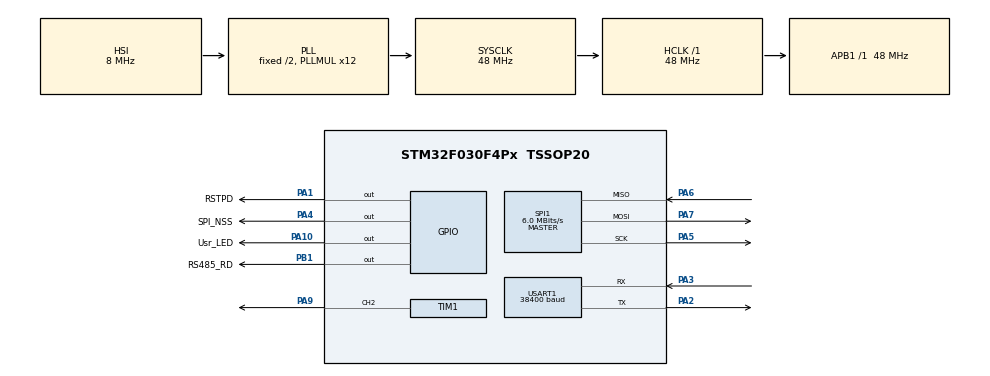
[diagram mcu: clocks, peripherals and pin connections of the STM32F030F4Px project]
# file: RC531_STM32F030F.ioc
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Mcu.Family=STM32F0
Mcu.Name=STM32F030F4Px
Mcu.Package=TSSOP20
NVIC.TIM17_IRQn=true\:0\:0\:false\:false\:true
NVIC.TimeBase=TIM17_IRQn
NVIC.TimeBaseIP=TIM17
PA1.GPIO_Label=RSTPD
PA1.GPIO_PuPd=GPIO_PULLUP
PA1.Signal=GPIO_Output
PA10.GPIO_Label=Usr_LED
PA10.GPIO_PuPd=GPIO_PULLUP
PA10.Signal=GPIO_Output
PA13.Mode=Serial_Wire
PA13.Signal=SYS_SWDIO
PA14.Mode=Serial_Wire
PA14.Signal=SYS_SWCLK
PA2.Mode=Asynchronous
PA2.Signal=USART1_TX
PA3.Mode=Asynchronous
PA3.Signal=USART1_RX
PA4.GPIO_Label=SPI_NSS
PA4.GPIO_PuPd=GPIO_PULLUP
PA4.PinState=GPIO_PIN_SET
PA4.Signal=GPIO_Output
PA5.Mode=Full_Duplex_Master
PA5.Signal=SPI1_SCK
PA6.Mode=Full_Duplex_Master
PA6.Signal=SPI1_MISO
PA7.Mode=Full_Duplex_Master
PA7.Signal=SPI1_MOSI
PA9.Signal=S_TIM1_CH2
PB1.GPIO_Label=RS485_RD
PB1.Signal=GPIO_Output
PF0-OSC_IN.Mode=HSE-External-Oscillator
PF0-OSC_IN.Signal=RCC_OSC_IN
PF1-OSC_OUT.Mode=HSE-External-Oscillator
PF1-OSC_OUT.Signal=RCC_OSC_OUT
ProjectManager.HeapSize=0x200
ProjectManager.StackSize=0x400
ProjectManager.TargetToolchain=MDK-ARM V5
RCC.AHBFreq_Value=48000000
RCC.APB1Freq_Value=48000000
RCC.APB1TimFreq_Value=48000000
RCC.HCLKFreq_Value=48000000
RCC.PLLMUL=RCC_PLL_MUL12
RCC.SYSCLKFreq_VALUE=48000000
RCC.SYSCLKSource=RCC_SYSCLKSOURCE_PLLCLK
SH.S_TIM1_CH2.0=TIM1_CH2,PWM Generation2 CH2
SPI1.BaudRatePrescaler=SPI_BAUDRATEPRESCALER_8
SPI1.CalculateBaudRate=6.0 MBits/s
SPI1.DataSize=SPI_DATASIZE_8BIT
SPI1.Mode=SPI_MODE_MASTER
TIM1.Channel-PWM\ Generation2\ CH2=TIM_CHANNEL_2
TIM1.Period=332
TIM1.Prescaler=47
TIM1.Pulse-PWM\ Generation2\ CH2=175
USART1.BaudRate=38400
USART1.DMADisableonRxErrorParam=UART_ADVFEATURE_DMA_DISABLEONRXERROR
USART1.OverSampling=UART_OVERSAMPLING_8
USART1.OverrunDisableParam=UART_ADVFEATURE_OVERRUN_DISABLE
USART1.Parity=UART_PARITY_NONE
USART1.StopBits=UART_STOPBITS_1
VP_SYS_VS_tim17.Mode=TIM17
VP_TIM1_VS_ClockSourceITR.Mode=TriggerSource_ITR0
VP_TIM1_VS_ControllerModeReset.Mode=Reset Mode
board=RC531_STM32F030F

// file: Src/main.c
/**
  ******************************************************************************
  * File Name          : main.c
  * Description        : Main program body
  ******************************************************************************
  *
  * COPYRIGHT(c) 2016 STMicroelectronics
  *
  * Redistribution and use in source and binary forms, with or without modification,
  * are permitted provided that the following conditions are met:
  *   1. Redistributions of source code must retain the above copyright notice,
  *      this list of conditions and the following disclaimer.
  *   2. Redistributions in binary form must reproduce the above copyright notice,
  *      this list of conditions and the following disclaimer in the documentation
  *      and/or other materials provided with the distribution.
  *   3. Neither the name of STMicroelectronics nor the names of its contributors
  *      may be used to endorse or promote products derived from this software
  *      without specific prior written permission.
  *
  * THIS SOFTWARE IS PROVIDED BY THE COPYRIGHT HOLDERS AND CONTRIBUTORS "AS IS"
  * AND ANY EXPRESS OR IMPLIED WARRANTIES, INCLUDING, BUT NOT LIMITED TO, THE
  * IMPLIED WARRANTIES OF MERCHANTABILITY AND FITNESS FOR A PARTICULAR PURPOSE ARE
  * DISCLAIMED. IN NO EVENT SHALL THE COPYRIGHT HOLDER OR CONTRIBUTORS BE LIABLE
  * FOR ANY DIRECT, INDIRECT, INCIDENTAL, SPECIAL, EXEMPLARY, OR CONSEQUENTIAL
  * DAMAGES (INCLUDING, BUT NOT LIMITED TO, PROCUREMENT OF SUBSTITUTE GOODS OR
  * SERVICES; LOSS OF USE, DATA, OR PROFITS; OR BUSINESS INTERRUPTION) HOWEVER
  * CAUSED AND ON ANY THEORY OF LIABILITY, WHETHER IN CONTRACT, STRICT LIABILITY,
  * OR TORT (INCLUDING NEGLIGENCE OR OTHERWISE) ARISING IN ANY WAY OUT OF THE USE
  * OF THIS SOFTWARE, EVEN IF ADVISED OF THE POSSIBILITY OF SUCH DAMAGE.
  *
  ******************************************************************************
  */
#include "stm32f0xx_hal.h"

/* USER CODE BEGIN Includes */
#include "main.h"
/* USER CODE END Includes */

SPI_HandleTypeDef hspi1;

TIM_HandleTypeDef htim1;

UART_HandleTypeDef huart1;

/* USER CODE BEGIN PV */
/* Private variables ---------------------------------------------------------*/
__IO uint32_t SYSTICK_CNT = 0;
static __IO HAL_StatusTypeDef spi_status = HAL_OK;

#ifndef DEBUG_MODE
#define DEBUG_MODE 0
#endif

#if (DEBUG_MODE != 0)
#define dbg_printf printf
#elif (DEBUG_MODE == 0)
#define dbg_printf(x) ;
#endif

/* USER CODE END PV */

void SystemClock_Config(void);
void Error_Handler(void);
static void MX_GPIO_Init(void);
static void MX_SPI1_Init(void);
static void MX_USART1_UART_Init(void);
static void MX_TIM1_Init(void);

void HAL_TIM_MspPostInit(TIM_HandleTypeDef *htim);

/* USER CODE BEGIN PFP */
/* Private function prototypes -----------------------------------------------*/

/** \USART io opra */
int stdin_getchar (void) {
	uint8_t buf = 0;
	HAL_UART_Receive(&huart1, &buf, 1, 10);
	return buf;
}
int stdout_putchar (int ch) {
	HAL_GPIO_WritePin(RS485_RD_GPIO_Port, RS485_RD_Pin, GPIO_PIN_SET);
	HAL_UART_Transmit(&huart1, (uint8_t*)&ch, 1, 10);
	return ch;
}

/** \Usr timer (50us) delay func */
void Usr_Define_Delay(int num_50us) {
//	if (num_50us) {
//		SYSTICK_CNT = num_50us - 1;
//		while (num_50us);
//	}
//	else {
//		SYSTICK_CNT = 0;
//	}

	int i = 1500;
	while (i--);
}

/** \SPI func Define */
static uint8_t Opra(uint8_t addr) {
	uint8_t buf = 0;

	spi_status = HAL_SPI_TransmitReceive(&hspi1, &addr, &buf, 1, 10);

	return buf;
}
unsigned char ReadRawRC(unsigned char Address) {
	uint8_t buf = 0xFF;
	HAL_GPIO_WritePin(SPI_NSS_GPIO_Port, SPI_NSS_Pin, GPIO_PIN_RESET);
	Opra( (Address << 1) | 0x80);
	buf = Opra(0x00);
	HAL_GPIO_WritePin(SPI_NSS_GPIO_Port, SPI_NSS_Pin, GPIO_PIN_SET);
	return buf;
}
unsigned char WriteRawRC(unsigned char Address, unsigned char value) {
	HAL_GPIO_WritePin(SPI_NSS_GPIO_Port, SPI_NSS_Pin, GPIO_PIN_RESET);
	Opra((Address << 1));
	Opra(value);
	HAL_GPIO_WritePin(SPI_NSS_GPIO_Port, SPI_NSS_Pin, GPIO_PIN_SET);
	return 0x00;
}
/* USER CODE END PFP */

/* USER CODE BEGIN 0 */
 uint8_t UID_buf[10], i;
unsigned char Check_Func(unsigned char* pt) {
	int num = 8;
	unsigned char ans = 0;

	while (num--)
		ans += *pt++;
	return ans;
}

/* USER CODE END 0 */

int main(void)
{

  /* MCU Configuration----------------------------------------------------------*/

  /* Reset of all peripherals, Initializes the Flash interface and the Systick. */
  HAL_Init();

  /* Configure the system clock */
  SystemClock_Config();

  /* Initialize all configured peripherals */
  MX_GPIO_Init();
  MX_SPI1_Init();
  MX_USART1_UART_Init();
  MX_TIM1_Init();

  /* USER CODE BEGIN 2 */
	#define BEEP_OFF	HAL_TIM_PWM_Stop(&htim1, TIM_CHANNEL_2);\
	HAL_GPIO_WritePin(GPIOA, GPIO_PIN_9, GPIO_PIN_RESET);

	#define BEEP_ON HAL_TIM_PWM_Start(&htim1, TIM_CHANNEL_2);

	HAL_TIM_Base_Start(&htim1);
	BEEP_OFF

	dbg_printf("Init start\n");

	if (BSP_IDCard_Init() == 0) {
		printf("A");

		//HAL_GPIO_WritePin(Beep_GPIO_Port, Beep_Pin, GPIO_PIN_SET);
		BEEP_ON
		HAL_Delay(500);
		BEEP_OFF
		//HAL_GPIO_WritePin(Beep_GPIO_Port, Beep_Pin, GPIO_PIN_RESET);
		HAL_Delay(100);

		dbg_printf("RC531 Checked\n");

	}
  /* USER CODE END 2 */

  /* Infinite loop */
  while (1)
  {

  /* USER CODE BEGIN 3 */
		if (BSP_IDCard_Request() == 0) {
			HAL_GPIO_WritePin(Usr_LED_GPIO_Port, Usr_LED_Pin, GPIO_PIN_SET);
			BEEP_ON

			HAL_Delay(100);

			HAL_GPIO_WritePin(Usr_LED_GPIO_Port, Usr_LED_Pin, GPIO_PIN_RESET);
			BEEP_OFF

			HAL_Delay(100);
			BSP_ICCard_UID(UID_buf);
			putchar(0xAA);
			putchar(0xAA);
			for (i = 0; i < 8; i++)
				printf("%c", UID_buf[i]);
			putchar(0x55);
			putchar(0x55);
			putchar(Check_Func(UID_buf));
		}
	}
  /* USER CODE END 3 */

}

/** System Clock Configuration
*/
void SystemClock_Config(void)
{

  RCC_OscInitTypeDef RCC_OscInitStruct;
  RCC_ClkInitTypeDef RCC_ClkInitStruct;
  RCC_PeriphCLKInitTypeDef PeriphClkInit;

  RCC_OscInitStruct.OscillatorType = RCC_OSCILLATORTYPE_HSI;
  RCC_OscInitStruct.HSIState = RCC_HSI_ON;
  RCC_OscInitStruct.HSICalibrationValue = 16;
  RCC_OscInitStruct.PLL.PLLState = RCC_PLL_ON;
  RCC_OscInitStruct.PLL.PLLSource = RCC_PLLSOURCE_HSI;
  RCC_OscInitStruct.PLL.PLLMUL = RCC_PLL_MUL12;
  RCC_OscInitStruct.PLL.PREDIV = RCC_PREDIV_DIV1;
  if (HAL_RCC_OscConfig(&RCC_OscInitStruct) != HAL_OK)
  {
    Error_Handler();
  }

  RCC_ClkInitStruct.ClockType = RCC_CLOCKTYPE_HCLK|RCC_CLOCKTYPE_SYSCLK
                              |RCC_CLOCKTYPE_PCLK1;
  RCC_ClkInitStruct.SYSCLKSource = RCC_SYSCLKSOURCE_PLLCLK;
  RCC_ClkInitStruct.AHBCLKDivider = RCC_SYSCLK_DIV1;
  RCC_ClkInitStruct.APB1CLKDivider = RCC_HCLK_DIV1;
  if (HAL_RCC_ClockConfig(&RCC_ClkInitStruct, FLASH_LATENCY_1) != HAL_OK)
  {
    Error_Handler();
  }

  PeriphClkInit.PeriphClockSelection = RCC_PERIPHCLK_USART1;
  PeriphClkInit.Usart1ClockSelection = RCC_USART1CLKSOURCE_PCLK1;
  if (HAL_RCCEx_PeriphCLKConfig(&PeriphClkInit) != HAL_OK)
  {
    Error_Handler();
  }

  HAL_SYSTICK_Config(HAL_RCC_GetHCLKFreq()/1000);

  HAL_SYSTICK_CLKSourceConfig(SYSTICK_CLKSOURCE_HCLK);

  /* SysTick_IRQn interrupt configuration */
  HAL_NVIC_SetPriority(SysTick_IRQn, 0, 0);
}

/* SPI1 init function */
static void MX_SPI1_Init(void)
{

  hspi1.Instance = SPI1;
  hspi1.Init.Mode = SPI_MODE_MASTER;
  hspi1.Init.Direction = SPI_DIRECTION_2LINES;
  hspi1.Init.DataSize = SPI_DATASIZE_8BIT;
  hspi1.Init.CLKPolarity = SPI_POLARITY_LOW;
  hspi1.Init.CLKPhase = SPI_PHASE_1EDGE;
  hspi1.Init.NSS = SPI_NSS_SOFT;
  hspi1.Init.BaudRatePrescaler = SPI_BAUDRATEPRESCALER_8;
  hspi1.Init.FirstBit = SPI_FIRSTBIT_MSB;
  hspi1.Init.TIMode = SPI_TIMODE_DISABLE;
  hspi1.Init.CRCCalculation = SPI_CRCCALCULATION_DISABLE;
  hspi1.Init.CRCPolynomial = 7;
  hspi1.Init.CRCLength = SPI_CRC_LENGTH_DATASIZE;
  hspi1.Init.NSSPMode = SPI_NSS_PULSE_ENABLE;
  if (HAL_SPI_Init(&hspi1) != HAL_OK)
  {
    Error_Handler();
  }

}

/* TIM1 init function */
static void MX_TIM1_Init(void)
{

  TIM_SlaveConfigTypeDef sSlaveConfig;
  TIM_MasterConfigTypeDef sMasterConfig;
  TIM_BreakDeadTimeConfigTypeDef sBreakDeadTimeConfig;
  TIM_OC_InitTypeDef sConfigOC;

  htim1.Instance = TIM1;
  htim1.Init.Prescaler = 47;
  htim1.Init.CounterMode = TIM_COUNTERMODE_UP;
  htim1.Init.Period = 332;
  htim1.Init.ClockDivision = TIM_CLOCKDIVISION_DIV1;
  htim1.Init.RepetitionCounter = 0;
  if (HAL_TIM_Base_Init(&htim1) != HAL_OK)
  {
    Error_Handler();
  }

  if (HAL_TIM_PWM_Init(&htim1) != HAL_OK)
  {
    Error_Handler();
  }

  sSlaveConfig.SlaveMode = TIM_SLAVEMODE_RESET;
  sSlaveConfig.InputTrigger = TIM_TS_ITR0;
  if (HAL_TIM_SlaveConfigSynchronization(&htim1, &sSlaveConfig) != HAL_OK)
  {
    Error_Handler();
  }

  sMasterConfig.MasterOutputTrigger = TIM_TRGO_RESET;
  sMasterConfig.MasterSlaveMode = TIM_MASTERSLAVEMODE_DISABLE;
  if (HAL_TIMEx_MasterConfigSynchronization(&htim1, &sMasterConfig) != HAL_OK)
  {
    Error_Handler();
  }

  sBreakDeadTimeConfig.OffStateRunMode = TIM_OSSR_DISABLE;
  sBreakDeadTimeConfig.OffStateIDLEMode = TIM_OSSI_DISABLE;
  sBreakDeadTimeConfig.LockLevel = TIM_LOCKLEVEL_OFF;
  sBreakDeadTimeConfig.DeadTime = 0;
  sBreakDeadTimeConfig.BreakState = TIM_BREAK_DISABLE;
  sBreakDeadTimeConfig.BreakPolarity = TIM_BREAKPOLARITY_HIGH;
  sBreakDeadTimeConfig.AutomaticOutput = TIM_AUTOMATICOUTPUT_DISABLE;
  if (HAL_TIMEx_ConfigBreakDeadTime(&htim1, &sBreakDeadTimeConfig) != HAL_OK)
  {
    Error_Handler();
  }

  sConfigOC.OCMode = TIM_OCMODE_PWM1;
  sConfigOC.Pulse = 175;
  sConfigOC.OCPolarity = TIM_OCPOLARITY_HIGH;
  sConfigOC.OCNPolarity = TIM_OCNPOLARITY_HIGH;
  sConfigOC.OCFastMode = TIM_OCFAST_DISABLE;
  sConfigOC.OCIdleState = TIM_OCIDLESTATE_RESET;
  sConfigOC.OCNIdleState = TIM_OCNIDLESTATE_RESET;
  if (HAL_TIM_PWM_ConfigChannel(&htim1, &sConfigOC, TIM_CHANNEL_2) != HAL_OK)
  {
    Error_Handler();
  }

  HAL_TIM_MspPostInit(&htim1);

}

/* USART1 init function */
static void MX_USART1_UART_Init(void)
{

  huart1.Instance = USART1;
  huart1.Init.BaudRate = 38400;
  huart1.Init.WordLength = UART_WORDLENGTH_8B;
  huart1.Init.StopBits = UART_STOPBITS_1;
  huart1.Init.Parity = UART_PARITY_NONE;
  huart1.Init.Mode = UART_MODE_TX_RX;
  huart1.Init.HwFlowCtl = UART_HWCONTROL_NONE;
  huart1.Init.OverSampling = UART_OVERSAMPLING_8;
  huart1.Init.OneBitSampling = UART_ONE_BIT_SAMPLE_DISABLE;
  huart1.AdvancedInit.AdvFeatureInit = UART_ADVFEATURE_RXOVERRUNDISABLE_INIT|UART_ADVFEATURE_DMADISABLEONERROR_INIT;
  huart1.AdvancedInit.OverrunDisable = UART_ADVFEATURE_OVERRUN_DISABLE;
  huart1.AdvancedInit.DMADisableonRxError = UART_ADVFEATURE_DMA_DISABLEONRXERROR;
  if (HAL_UART_Init(&huart1) != HAL_OK)
  {
    Error_Handler();
  }

}

/** Configure pins as
        * Analog
        * Input
        * Output
        * EVENT_OUT
        * EXTI
*/
static void MX_GPIO_Init(void)
{

  GPIO_InitTypeDef GPIO_InitStruct;

  /* GPIO Ports Clock Enable */
  __HAL_RCC_GPIOF_CLK_ENABLE();
  __HAL_RCC_GPIOA_CLK_ENABLE();
  __HAL_RCC_GPIOB_CLK_ENABLE();

  /*Configure GPIO pin Output Level */
  HAL_GPIO_WritePin(GPIOA, RSTPD_Pin|Usr_LED_Pin, GPIO_PIN_RESET);

  /*Configure GPIO pin Output Level */
  HAL_GPIO_WritePin(SPI_NSS_GPIO_Port, SPI_NSS_Pin, GPIO_PIN_SET);

  /*Configure GPIO pin Output Level */
  HAL_GPIO_WritePin(RS485_RD_GPIO_Port, RS485_RD_Pin, GPIO_PIN_RESET);

  /*Configure GPIO pins : RSTPD_Pin SPI_NSS_Pin Usr_LED_Pin */
  GPIO_InitStruct.Pin = RSTPD_Pin|SPI_NSS_Pin|Usr_LED_Pin;
  GPIO_InitStruct.Mode = GPIO_MODE_OUTPUT_PP;
  GPIO_InitStruct.Pull = GPIO_PULLUP;
  GPIO_InitStruct.Speed = GPIO_SPEED_FREQ_LOW;
  HAL_GPIO_Init(GPIOA, &GPIO_InitStruct);

  /*Configure GPIO pin : RS485_RD_Pin */
  GPIO_InitStruct.Pin = RS485_RD_Pin;
  GPIO_InitStruct.Mode = GPIO_MODE_OUTPUT_PP;
  GPIO_InitStruct.Pull = GPIO_NOPULL;
  GPIO_InitStruct.Speed = GPIO_SPEED_FREQ_LOW;
  HAL_GPIO_Init(RS485_RD_GPIO_Port, &GPIO_InitStruct);

}

void HAL_TIM_PeriodElapsedCallback(TIM_HandleTypeDef *htim)
{
  if (htim->Instance == TIM17) {
    HAL_IncTick();
  }
}

void Error_Handler(void)
{
  while(1)
  {
  }
}

/************************ (C) COPYRIGHT STMicroelectronics *****END OF FILE****/
